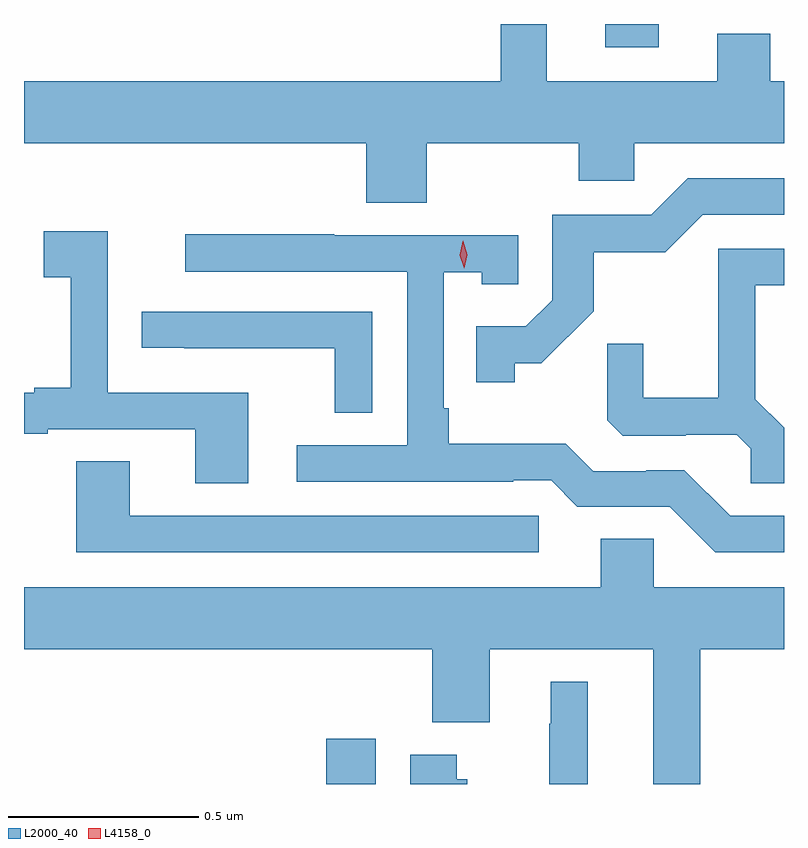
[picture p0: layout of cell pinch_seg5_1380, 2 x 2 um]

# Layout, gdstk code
import gdstk
lib = gdstk.Library(unit=1e-6, precision=1e-09)
def R(c, l, rs):  # rectangles x0, y0, x1, y1
    for r in rs: c.add(gdstk.rectangle(r[:2], r[2:], *l))
def P(c, l, *ps):  # polygons
    for p in ps: c.add(gdstk.Polygon(p, *l))
L2000_40 = (2000, 40)
L4158_0 = (4158, 0)

pinch_seg5_1380 = lib.new_cell('pinch_seg5_1380')
R(pinch_seg5_1380, L2000_40, [(301.226,892.37,301.357,892.489), (301.961,894.309,302.101,894.37)])
P(pinch_seg5_1380, L2000_40, [(301.491,894.056),(301.891,894.056),(301.891,893.958),(302.037,893.958),(302.037,894.056),(302.431,894.056),(302.431,894.22),(302.395,894.22),(302.395,894.344),(302.255,894.344),(302.255,894.22),(301.807,894.22),(301.807,894.37),(301.686,894.37),(301.686,894.22),(300.431,894.22),(300.431,894.056),(301.331,894.056),(301.331,893.899),(301.491,893.899)],
  [(301.722,893.477),(301.792,893.477),(301.93,893.614),(301.93,893.77),(302.119,893.77),(302.217,893.868),(302.431,893.868),(302.431,893.964),(302.178,893.964),(302.082,893.868),(301.821,893.868),(301.821,893.643),(301.752,893.574),(301.621,893.574),(301.621,893.427),(301.722,893.427)],
  [(301.021,893.4),(300.651,893.4),(300.651,893.824),(300.483,893.824),(300.483,893.704),(300.554,893.704),(300.554,893.413),(300.458,893.413),(300.458,893.4),(300.431,893.4),(300.431,893.292),(300.493,893.292),(300.493,893.304),(300.881,893.304),(300.881,893.161),(301.021,893.161)],
  [(302.431,893.076),(302.289,893.076),(302.169,893.196),(302.068,893.196),(302.068,893.193),(301.929,893.193),(301.856,893.266),(301.549,893.266),(301.549,893.359),(301.536,893.359),(301.536,893.717),(301.635,893.717),(301.635,893.685),(301.731,893.685),(301.731,893.814),(301.247,893.814),(301.247,893.817),(300.855,893.817),(300.855,893.718),(301.44,893.718),(301.44,893.262),(301.149,893.262),(301.149,893.166),(301.718,893.166),(301.718,893.169),(301.818,893.169),(301.887,893.1),(302.13,893.1),(302.25,892.98),(302.431,892.98)],
  [(302.431,893.307),(302.355,893.383),(302.355,893.682),(302.431,893.682),(302.431,893.778),(302.258,893.778),(302.258,893.386),(302.06,893.386),(302.06,893.529),(301.966,893.529),(301.966,893.327),(302.007,893.286),(302.172,893.286),(302.172,893.289),(302.306,893.289),(302.343,893.252),(302.343,893.161),(302.431,893.161)],
  [(301.347,893.613),(300.741,893.613),(300.741,893.518),(300.853,893.518),(300.853,893.517),(301.249,893.517),(301.249,893.347),(301.347,893.347)],
  [(301.786,893.076),(300.709,893.076),(300.709,893.219),(300.569,893.219),(300.569,892.98),(301.786,892.98)],
  [(302.21,892.724),(302.431,892.724),(302.431,892.888),(302.088,892.888),(302.088,893.015),(301.949,893.015),(301.949,892.888),(300.431,892.888),(300.431,892.724),(301.505,892.724),(301.505,892.532),(301.657,892.532),(301.657,892.724),(302.087,892.724),(302.087,892.37),(302.21,892.37)],
  [(301.915,892.639),(301.817,892.639),(301.817,892.529),(301.813,892.529),(301.813,892.37),(301.915,892.37)],
  [(301.597,892.383),(301.57,892.383),(301.57,892.447),(301.448,892.447),(301.448,892.37),(301.597,892.37)])
P(pinch_seg5_1380, L4158_0, [(301.589,893.727),(301.589,893.727),(301.578,893.762),(301.586,893.798),(301.587,893.799),(301.587,893.798),(301.598,893.763),(301.589,893.727)])

lib.write_gds('pinch_seg5_1380.gds')
